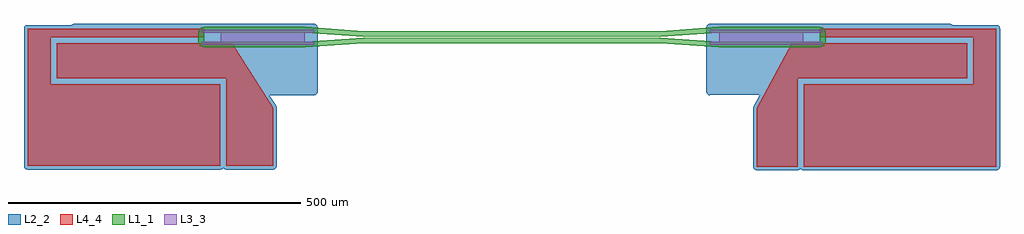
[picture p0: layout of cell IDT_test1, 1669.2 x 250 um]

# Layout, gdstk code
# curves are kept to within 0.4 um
import gdstk
lib = gdstk.Library(unit=1e-6, precision=1e-09)
def P(c, l, *ps):  # polygons
    for p in ps: c.add(gdstk.Polygon(p, *l))
L1_1 = (1, 1)
L2_2 = (2, 2)
L3_3 = (3, 3)
L4_4 = (4, 4)

idt_test1 = lib.new_cell('IDT_test1')
P(idt_test1, L1_1, [(-778.8,-12.75),(-951.6,-12.75),(-957.156,-11.065),(-960.839,-6.577),(-961.6,-2.75),(-961.6,12.25),(-960.839,16.077),(-958.671,19.321),(-955.427,21.489),(-951.6,22.25),(-778.8,22.25),(-678.455,15.35),(-425,15.35),(-425,5.35),(-678.8,5.35),(-778.8,12.25),(-951.6,12.25),(-951.6,-2.75),(-778.8,-2.75),(-678.8,4.15),(-425,4.15),(-425,-5.85),(-678.455,-5.85)],
  [(-171.545,15.35),(-71.2,22.25),(101.6,22.25),(105.427,21.489),(108.671,19.321),(110.839,16.077),(111.6,12.25),(111.6,-2.75),(110.839,-6.577),(107.156,-11.065),(101.6,-12.75),(-71.2,-12.75),(-171.545,-5.85),(-425,-5.85),(-425,4.15),(-171.2,4.15),(-71.2,-2.75),(101.6,-2.75),(101.6,12.25),(-71.2,12.25),(-171.2,5.35),(-425,5.35),(-425,15.35)])
P(idt_test1, L2_2, [(68.6,-219.815),(66.428,-221.792),(63.6,-222.5),(-6.4,-222.5),(-9.228,-221.792),(-11.389,-219.833),(-12.4,-216.5),(-12.371,-115.906),(-11.678,-113.647),(-1.329,-94.5),(-86.4,-94.5),(-89.228,-93.792),(-91.389,-91.833),(-92.4,-88.5),(-92.4,21.5),(-91.692,24.328),(-89.733,26.489),(-86.4,27.5),(323.6,27.5),(325.896,27.043),(328.063,25.5),(404.188,25.471),(406.428,24.792),(408.589,22.833),(409.6,19.5),(409.6,-216.5),(408.892,-219.328),(406.933,-221.489),(403.6,-222.5),(73.6,-222.5),(70.772,-221.792)],
  [(-1178.063,25.5),(-1175.896,27.043),(-1173.6,27.5),(-761.858,27.242),(-758.611,24.833),(-757.6,21.5),(-757.858,-90.242),(-759.794,-93.138),(-763.012,-94.471),(-839.852,-94.5),(-828.538,-112.279),(-827.627,-114.934),(-827.6,-215.5),(-828.611,-218.833),(-831.858,-221.242),(-913.6,-221.5),(-916.428,-220.792),(-918.6,-218.815),(-920.772,-220.792),(-923.6,-221.5),(-1255.342,-221.242),(-1258.589,-218.833),(-1259.6,-215.5),(-1259.342,21.242),(-1257.406,24.138),(-1254.188,25.471)])
P(idt_test1, L3_3, [(-898.6,-3),(-898.6,11.75),(-898.155,11.75),(-898.155,-3),(-896.8,-3),(-896.8,11.75),(-896.355,11.75),(-896.355,-3),(-895,-3),(-895,11.75),(-894.555,11.75),(-894.555,-3),(-893.2,-3),(-893.2,11.75),(-892.755,11.75),(-892.755,-3),(-891.4,-3),(-891.4,11.75),(-890.955,11.75),(-890.955,-3),(-889.6,-3),(-889.6,11.75),(-889.155,11.75),(-889.155,-3),(-887.8,-3),(-887.8,11.75),(-887.355,11.75),(-887.355,-3),(-886,-3),(-886,11.75),(-885.555,11.75),(-885.555,-3),(-884.2,-3),(-884.2,11.75),(-883.755,11.75),(-883.755,-3),(-882.4,-3),(-882.4,11.75),(-881.955,11.75),(-881.955,-3),(-880.6,-3),(-880.6,11.75),(-880.155,11.75),(-880.155,-3),(-878.8,-3),(-878.8,11.75),(-878.355,11.75),(-878.355,-3),(-877,-3),(-877,11.75),(-876.555,11.75),(-876.555,-3),(-875.2,-3),(-875.2,11.75),(-874.755,11.75),(-874.755,-3),(-873.4,-3),(-873.4,11.75),(-872.955,11.75),(-872.955,-3),(-871.6,-3),(-871.6,11.75),(-871.155,11.75),(-871.155,-3),(-869.8,-3),(-869.8,11.75),(-869.355,11.75),(-869.355,-3),(-868,-3),(-868,11.75),(-867.555,11.75),(-867.555,-3),(-866.2,-3),(-866.2,11.75),(-865.755,11.75),(-865.755,-3),(-864.4,-3),(-864.4,11.75),(-863.955,11.75),(-863.955,-3),(-862.6,-3),(-862.6,11.75),(-862.155,11.75),(-862.155,-3),(-860.8,-3),(-860.8,11.75),(-860.355,11.75),(-860.355,-3),(-859,-3),(-859,11.75),(-858.555,11.75),(-858.555,-3),(-857.2,-3),(-857.2,11.75),(-856.755,11.75),(-856.755,-3),(-855.4,-3),(-855.4,11.75),(-854.955,11.75),(-854.955,-3),(-853.6,-3),(-853.6,11.75),(-853.155,11.75),(-853.155,-3),(-851.8,-3),(-851.8,11.75),(-851.355,11.75),(-851.355,-3),(-850,-3),(-850,11.75),(-849.555,11.75),(-849.555,-3),(-848.2,-3),(-848.2,11.75),(-847.755,11.75),(-847.755,-3),(-846.4,-3),(-846.4,11.75),(-845.955,11.75),(-845.955,-3),(-844.6,-3),(-844.6,11.75),(-844.155,11.75),(-844.155,-3),(-842.8,-3),(-842.8,11.75),(-842.355,11.75),(-842.355,-3),(-841,-3),(-841,11.75),(-840.555,11.75),(-840.555,-3),(-839.2,-3),(-839.2,11.75),(-838.755,11.75),(-838.755,-3),(-837.4,-3),(-837.4,11.75),(-836.955,11.75),(-836.955,-3),(-835.6,-3),(-835.6,11.75),(-835.155,11.75),(-835.155,-3),(-833.8,-3),(-833.8,11.75),(-833.355,11.75),(-833.355,-3),(-832,-3),(-832,11.75),(-831.555,11.75),(-831.555,-3),(-830.2,-3),(-830.2,11.75),(-829.755,11.75),(-829.755,-3),(-828.4,-3),(-828.4,11.75),(-827.955,11.75),(-827.955,-3),(-826.6,-3),(-826.6,11.75),(-826.155,11.75),(-826.155,-3),(-824.8,-3),(-824.8,11.75),(-824.355,11.75),(-824.355,-3),(-823,-3),(-823,11.75),(-822.555,11.75),(-822.555,-3),(-821.2,-3),(-821.2,11.75),(-820.755,11.75),(-820.755,-3),(-819.4,-3),(-819.4,11.75),(-818.955,11.75),(-818.955,-3),(-817.6,-3),(-817.6,11.75),(-817.155,11.75),(-817.155,-3),(-815.8,-3),(-815.8,11.75),(-815.355,11.75),(-815.355,-3),(-814,-3),(-814,11.75),(-813.555,11.75),(-813.555,-3),(-812.2,-3),(-812.2,11.75),(-811.755,11.75),(-811.755,-3),(-810.4,-3),(-810.4,11.75),(-809.955,11.75),(-809.955,-3),(-808.6,-3),(-808.6,11.75),(-808.155,11.75),(-808.155,-3),(-806.8,-3),(-806.8,11.75),(-806.355,11.75),(-806.355,-3),(-805,-3),(-805,11.75),(-804.555,11.75),(-804.555,-3),(-803.2,-3),(-803.2,11.75),(-802.755,11.75),(-802.755,-3),(-801.4,-3),(-801.4,11.75),(-800.955,11.75),(-800.955,-3),(-799.6,-3),(-799.6,11.75),(-799.155,11.75),(-799.155,-3),(-797.8,-3),(-797.8,11.75),(-797.355,11.75),(-797.355,-3),(-796,-3),(-796,11.75),(-795.555,11.75),(-795.555,-3),(-794.2,-3),(-794.2,11.75),(-793.755,11.75),(-793.755,-3),(-792.4,-3),(-792.4,11.75),(-791.955,11.75),(-791.955,-3),(-790.6,-3),(-790.6,11.75),(-790.155,11.75),(-790.155,-3),(-788.8,-3),(-788.8,11.75),(-788.355,11.75),(-788.355,-3),(-787,-3),(-787,11.75),(-786.555,11.75),(-786.555,-3),(-785.2,-3),(-785.2,11.75),(-784.755,11.75),(-784.755,-3),(-783.4,-3),(-783.4,11.75),(-782.955,11.75),(-782.955,-3),(-781.6,-3),(-781.6,11.75),(-781.155,11.75),(-781.155,-3),(-779.8,-3),(-779.8,11.75),(-779.355,11.75),(-779.355,-3),(-763.6,-3),(-763.6,-8),(-955.6,-8),(-955.6,-3),(-922,-3),(-922,11.75),(-921.555,11.75),(-921.555,-3),(-920.2,-3),(-920.2,11.75),(-919.755,11.75),(-919.755,-3),(-918.4,-3),(-918.4,11.75),(-917.955,11.75),(-917.955,-3),(-916.6,-3),(-916.6,11.75),(-916.155,11.75),(-916.155,-3),(-914.8,-3),(-914.8,11.75),(-914.355,11.75),(-914.355,-3),(-913,-3),(-913,11.75),(-912.555,11.75),(-912.555,-3),(-911.2,-3),(-911.2,11.75),(-910.755,11.75),(-910.755,-3),(-909.4,-3),(-909.4,11.75),(-908.955,11.75),(-908.955,-3),(-907.6,-3),(-907.6,11.75),(-907.155,11.75),(-907.155,-3),(-905.8,-3),(-905.8,11.75),(-905.355,11.75),(-905.355,-3),(-904,-3),(-904,11.75),(-903.555,11.75),(-903.555,-3),(-902.2,-3),(-902.2,11.75),(-901.755,11.75),(-901.755,-3),(-900.4,-3),(-900.4,11.75),(-899.955,11.75),(-899.955,-3),(-898.6,-3)],
  [(-68.845,11.75),(-68.4,11.75),(-68.4,-3),(-67.045,-3),(-67.045,11.75),(-66.6,11.75),(-66.6,-3),(-65.245,-3),(-65.245,11.75),(-64.8,11.75),(-64.8,-3),(-63.445,-3),(-63.445,11.75),(-63,11.75),(-63,-3),(-61.645,-3),(-61.645,11.75),(-61.2,11.75),(-61.2,-3),(-59.845,-3),(-59.845,11.75),(-59.4,11.75),(-59.4,-3),(-58.045,-3),(-58.045,11.75),(-57.6,11.75),(-57.6,-3),(-56.245,-3),(-56.245,11.75),(-55.8,11.75),(-55.8,-3),(-54.445,-3),(-54.445,11.75),(-54,11.75),(-54,-3),(-52.645,-3),(-52.645,11.75),(-52.2,11.75),(-52.2,-3),(-50.845,-3),(-50.845,11.75),(-50.4,11.75),(-50.4,-3),(-49.045,-3),(-49.045,11.75),(-48.6,11.75),(-48.6,-3),(-47.245,-3),(-47.245,11.75),(-46.8,11.75),(-46.8,-3),(-45.445,-3),(-45.445,11.75),(-45,11.75),(-45,-3),(-43.645,-3),(-43.645,11.75),(-43.2,11.75),(-43.2,-3),(-41.845,-3),(-41.845,11.75),(-41.4,11.75),(-41.4,-3),(-40.045,-3),(-40.045,11.75),(-39.6,11.75),(-39.6,-3),(-38.245,-3),(-38.245,11.75),(-37.8,11.75),(-37.8,-3),(-36.445,-3),(-36.445,11.75),(-36,11.75),(-36,-3),(-34.645,-3),(-34.645,11.75),(-34.2,11.75),(-34.2,-3),(-32.845,-3),(-32.845,11.75),(-32.4,11.75),(-32.4,-3),(-31.045,-3),(-31.045,11.75),(-30.6,11.75),(-30.6,-3),(-29.245,-3),(-29.245,11.75),(-28.8,11.75),(-28.8,-3),(-27.445,-3),(-27.445,11.75),(-27,11.75),(-27,-3),(-25.645,-3),(-25.645,11.75),(-25.2,11.75),(-25.2,-3),(-23.845,-3),(-23.845,11.75),(-23.4,11.75),(-23.4,-3),(-22.045,-3),(-22.045,11.75),(-21.6,11.75),(-21.6,-3),(-20.245,-3),(-20.245,11.75),(-19.8,11.75),(-19.8,-3),(-18.445,-3),(-18.445,11.75),(-18,11.75),(-18,-3),(-16.645,-3),(-16.645,11.75),(-16.2,11.75),(-16.2,-3),(-14.845,-3),(-14.845,11.75),(-14.4,11.75),(-14.4,-3),(-13.045,-3),(-13.045,11.75),(-12.6,11.75),(-12.6,-3),(-11.245,-3),(-11.245,11.75),(-10.8,11.75),(-10.8,-3),(-9.445,-3),(-9.445,11.75),(-9,11.75),(-9,-3),(-7.645,-3),(-7.645,11.75),(-7.2,11.75),(-7.2,-3),(-5.845,-3),(-5.845,11.75),(-5.4,11.75),(-5.4,-3),(-4.045,-3),(-4.045,11.75),(-3.6,11.75),(-3.6,-3),(-2.245,-3),(-2.245,11.75),(-1.8,11.75),(-1.8,-3),(-0.445,-3),(-0.445,11.75),(0,11.75),(0,-3),(1.355,-3),(1.355,11.75),(1.8,11.75),(1.8,-3),(3.155,-3),(3.155,11.75),(3.6,11.75),(3.6,-3),(4.955,-3),(4.955,11.75),(5.4,11.75),(5.4,-3),(6.755,-3),(6.755,11.75),(7.2,11.75),(7.2,-3),(8.555,-3),(8.555,11.75),(9,11.75),(9,-3),(10.355,-3),(10.355,11.75),(10.8,11.75),(10.8,-3),(12.155,-3),(12.155,11.75),(12.6,11.75),(12.6,-3),(13.955,-3),(13.955,11.75),(14.4,11.75),(14.4,-3),(15.755,-3),(15.755,11.75),(16.2,11.75),(16.2,-3),(17.555,-3),(17.555,11.75),(18,11.75),(18,-3),(19.355,-3),(19.355,11.75),(19.8,11.75),(19.8,-3),(21.155,-3),(21.155,11.75),(21.6,11.75),(21.6,-3),(22.955,-3),(22.955,11.75),(23.4,11.75),(23.4,-3),(24.755,-3),(24.755,11.75),(25.2,11.75),(25.2,-3),(26.555,-3),(26.555,11.75),(27,11.75),(27,-3),(28.355,-3),(28.355,11.75),(28.8,11.75),(28.8,-3),(30.155,-3),(30.155,11.75),(30.6,11.75),(30.6,-3),(31.955,-3),(31.955,11.75),(32.4,11.75),(32.4,-3),(33.755,-3),(33.755,11.75),(34.2,11.75),(34.2,-3),(35.555,-3),(35.555,11.75),(36,11.75),(36,-3),(37.355,-3),(37.355,11.75),(37.8,11.75),(37.8,-3),(39.155,-3),(39.155,11.75),(39.6,11.75),(39.6,-3),(40.955,-3),(40.955,11.75),(41.4,11.75),(41.4,-3),(42.755,-3),(42.755,11.75),(43.2,11.75),(43.2,-3),(44.555,-3),(44.555,11.75),(45,11.75),(45,-3),(46.355,-3),(46.355,11.75),(46.8,11.75),(46.8,-3),(48.155,-3),(48.155,11.75),(48.6,11.75),(48.6,-3),(49.955,-3),(49.955,11.75),(50.4,11.75),(50.4,-3),(51.755,-3),(51.755,11.75),(52.2,11.75),(52.2,-3),(53.555,-3),(53.555,11.75),(54,11.75),(54,-3),(55.355,-3),(55.355,11.75),(55.8,11.75),(55.8,-3),(57.155,-3),(57.155,11.75),(57.6,11.75),(57.6,-3),(58.955,-3),(58.955,11.75),(59.4,11.75),(59.4,-3),(60.755,-3),(60.755,11.75),(61.2,11.75),(61.2,-3),(62.555,-3),(62.555,11.75),(63,11.75),(63,-3),(64.355,-3),(64.355,11.75),(64.8,11.75),(64.8,-3),(66.155,-3),(66.155,11.75),(66.6,11.75),(66.6,-3),(67.955,-3),(67.955,11.75),(68.4,11.75),(68.4,-3),(69.755,-3),(69.755,11.75),(70.2,11.75),(70.2,-3),(71.555,-3),(71.555,11.75),(72,11.75),(72,-3),(105.6,-3),(105.6,-8),(-86.4,-8),(-86.4,-3),(-70.645,-3),(-70.645,11.75),(-70.2,11.75),(-70.2,-3),(-68.845,-3),(-68.845,11.75)],
  [(-895.455,-2.25),(-895.9,-2.25),(-895.9,12.5),(-897.255,12.5),(-897.255,-2.25),(-897.7,-2.25),(-897.7,12.5),(-899.055,12.5),(-899.055,-2.25),(-899.5,-2.25),(-899.5,12.5),(-900.855,12.5),(-900.855,-2.25),(-901.3,-2.25),(-901.3,12.5),(-902.655,12.5),(-902.655,-2.25),(-903.1,-2.25),(-903.1,12.5),(-904.455,12.5),(-904.455,-2.25),(-904.9,-2.25),(-904.9,12.5),(-906.255,12.5),(-906.255,-2.25),(-906.7,-2.25),(-906.7,12.5),(-908.055,12.5),(-908.055,-2.25),(-908.5,-2.25),(-908.5,12.5),(-909.855,12.5),(-909.855,-2.25),(-910.3,-2.25),(-910.3,12.5),(-911.655,12.5),(-911.655,-2.25),(-912.1,-2.25),(-912.1,12.5),(-913.455,12.5),(-913.455,-2.25),(-913.9,-2.25),(-913.9,12.5),(-915.255,12.5),(-915.255,-2.25),(-915.7,-2.25),(-915.7,12.5),(-917.055,12.5),(-917.055,-2.25),(-917.5,-2.25),(-917.5,12.5),(-918.855,12.5),(-918.855,-2.25),(-919.3,-2.25),(-919.3,12.5),(-920.655,12.5),(-920.655,-2.25),(-921.1,-2.25),(-921.1,12.5),(-922.455,12.5),(-922.455,-2.25),(-922.9,-2.25),(-922.9,12.5),(-955.6,12.5),(-955.6,17.5),(-763.6,17.5),(-763.6,12.5),(-780.255,12.5),(-780.255,-2.25),(-780.7,-2.25),(-780.7,12.5),(-782.055,12.5),(-782.055,-2.25),(-782.5,-2.25),(-782.5,12.5),(-783.855,12.5),(-783.855,-2.25),(-784.3,-2.25),(-784.3,12.5),(-785.655,12.5),(-785.655,-2.25),(-786.1,-2.25),(-786.1,12.5),(-787.455,12.5),(-787.455,-2.25),(-787.9,-2.25),(-787.9,12.5),(-789.255,12.5),(-789.255,-2.25),(-789.7,-2.25),(-789.7,12.5),(-791.055,12.5),(-791.055,-2.25),(-791.5,-2.25),(-791.5,12.5),(-792.855,12.5),(-792.855,-2.25),(-793.3,-2.25),(-793.3,12.5),(-794.655,12.5),(-794.655,-2.25),(-795.1,-2.25),(-795.1,12.5),(-796.455,12.5),(-796.455,-2.25),(-796.9,-2.25),(-796.9,12.5),(-798.255,12.5),(-798.255,-2.25),(-798.7,-2.25),(-798.7,12.5),(-800.055,12.5),(-800.055,-2.25),(-800.5,-2.25),(-800.5,12.5),(-801.855,12.5),(-801.855,-2.25),(-802.3,-2.25),(-802.3,12.5),(-803.655,12.5),(-803.655,-2.25),(-804.1,-2.25),(-804.1,12.5),(-805.455,12.5),(-805.455,-2.25),(-805.9,-2.25),(-805.9,12.5),(-807.255,12.5),(-807.255,-2.25),(-807.7,-2.25),(-807.7,12.5),(-809.055,12.5),(-809.055,-2.25),(-809.5,-2.25),(-809.5,12.5),(-810.855,12.5),(-810.855,-2.25),(-811.3,-2.25),(-811.3,12.5),(-812.655,12.5),(-812.655,-2.25),(-813.1,-2.25),(-813.1,12.5),(-814.455,12.5),(-814.455,-2.25),(-814.9,-2.25),(-814.9,12.5),(-816.255,12.5),(-816.255,-2.25),(-816.7,-2.25),(-816.7,12.5),(-818.055,12.5),(-818.055,-2.25),(-818.5,-2.25),(-818.5,12.5),(-819.855,12.5),(-819.855,-2.25),(-820.3,-2.25),(-820.3,12.5),(-821.655,12.5),(-821.655,-2.25),(-822.1,-2.25),(-822.1,12.5),(-823.455,12.5),(-823.455,-2.25),(-823.9,-2.25),(-823.9,12.5),(-825.255,12.5),(-825.255,-2.25),(-825.7,-2.25),(-825.7,12.5),(-827.055,12.5),(-827.055,-2.25),(-827.5,-2.25),(-827.5,12.5),(-828.855,12.5),(-828.855,-2.25),(-829.3,-2.25),(-829.3,12.5),(-830.655,12.5),(-830.655,-2.25),(-831.1,-2.25),(-831.1,12.5),(-832.455,12.5),(-832.455,-2.25),(-832.9,-2.25),(-832.9,12.5),(-834.255,12.5),(-834.255,-2.25),(-834.7,-2.25),(-834.7,12.5),(-836.055,12.5),(-836.055,-2.25),(-836.5,-2.25),(-836.5,12.5),(-837.855,12.5),(-837.855,-2.25),(-838.3,-2.25),(-838.3,12.5),(-839.655,12.5),(-839.655,-2.25),(-840.1,-2.25),(-840.1,12.5),(-841.455,12.5),(-841.455,-2.25),(-841.9,-2.25),(-841.9,12.5),(-843.255,12.5),(-843.255,-2.25),(-843.7,-2.25),(-843.7,12.5),(-845.055,12.5),(-845.055,-2.25),(-845.5,-2.25),(-845.5,12.5),(-846.855,12.5),(-846.855,-2.25),(-847.3,-2.25),(-847.3,12.5),(-848.655,12.5),(-848.655,-2.25),(-849.1,-2.25),(-849.1,12.5),(-850.455,12.5),(-850.455,-2.25),(-850.9,-2.25),(-850.9,12.5),(-852.255,12.5),(-852.255,-2.25),(-852.7,-2.25),(-852.7,12.5),(-854.055,12.5),(-854.055,-2.25),(-854.5,-2.25),(-854.5,12.5),(-855.855,12.5),(-855.855,-2.25),(-856.3,-2.25),(-856.3,12.5),(-857.655,12.5),(-857.655,-2.25),(-858.1,-2.25),(-858.1,12.5),(-859.455,12.5),(-859.455,-2.25),(-859.9,-2.25),(-859.9,12.5),(-861.255,12.5),(-861.255,-2.25),(-861.7,-2.25),(-861.7,12.5),(-863.055,12.5),(-863.055,-2.25),(-863.5,-2.25),(-863.5,12.5),(-864.855,12.5),(-864.855,-2.25),(-865.3,-2.25),(-865.3,12.5),(-866.655,12.5),(-866.655,-2.25),(-867.1,-2.25),(-867.1,12.5),(-868.455,12.5),(-868.455,-2.25),(-868.9,-2.25),(-868.9,12.5),(-870.255,12.5),(-870.255,-2.25),(-870.7,-2.25),(-870.7,12.5),(-872.055,12.5),(-872.055,-2.25),(-872.5,-2.25),(-872.5,12.5),(-873.855,12.5),(-873.855,-2.25),(-874.3,-2.25),(-874.3,12.5),(-875.655,12.5),(-875.655,-2.25),(-876.1,-2.25),(-876.1,12.5),(-877.455,12.5),(-877.455,-2.25),(-877.9,-2.25),(-877.9,12.5),(-879.255,12.5),(-879.255,-2.25),(-879.7,-2.25),(-879.7,12.5),(-881.055,12.5),(-881.055,-2.25),(-881.5,-2.25),(-881.5,12.5),(-882.855,12.5),(-882.855,-2.25),(-883.3,-2.25),(-883.3,12.5),(-884.655,12.5),(-884.655,-2.25),(-885.1,-2.25),(-885.1,12.5),(-886.455,12.5),(-886.455,-2.25),(-886.9,-2.25),(-886.9,12.5),(-888.255,12.5),(-888.255,-2.25),(-888.7,-2.25),(-888.7,12.5),(-890.055,12.5),(-890.055,-2.25),(-890.5,-2.25),(-890.5,12.5),(-891.855,12.5),(-891.855,-2.25),(-892.3,-2.25),(-892.3,12.5),(-893.655,12.5),(-893.655,-2.25),(-894.1,-2.25),(-894.1,12.5),(-895.455,12.5),(-895.455,-2.25)],
  [(-56.7,12.5),(-56.7,-2.25),(-57.145,-2.25),(-57.145,12.5),(-58.5,12.5),(-58.5,-2.25),(-58.945,-2.25),(-58.945,12.5),(-60.3,12.5),(-60.3,-2.25),(-60.745,-2.25),(-60.745,12.5),(-62.1,12.5),(-62.1,-2.25),(-62.545,-2.25),(-62.545,12.5),(-63.9,12.5),(-63.9,-2.25),(-64.345,-2.25),(-64.345,12.5),(-65.7,12.5),(-65.7,-2.25),(-66.145,-2.25),(-66.145,12.5),(-67.5,12.5),(-67.5,-2.25),(-67.945,-2.25),(-67.945,12.5),(-69.3,12.5),(-69.3,-2.25),(-69.745,-2.25),(-69.745,12.5),(-86.4,12.5),(-86.4,17.5),(105.6,17.5),(105.6,12.5),(72.9,12.5),(72.9,-2.25),(72.455,-2.25),(72.455,12.5),(71.1,12.5),(71.1,-2.25),(70.655,-2.25),(70.655,12.5),(69.3,12.5),(69.3,-2.25),(68.855,-2.25),(68.855,12.5),(67.5,12.5),(67.5,-2.25),(67.055,-2.25),(67.055,12.5),(65.7,12.5),(65.7,-2.25),(65.255,-2.25),(65.255,12.5),(63.9,12.5),(63.9,-2.25),(63.455,-2.25),(63.455,12.5),(62.1,12.5),(62.1,-2.25),(61.655,-2.25),(61.655,12.5),(60.3,12.5),(60.3,-2.25),(59.855,-2.25),(59.855,12.5),(58.5,12.5),(58.5,-2.25),(58.055,-2.25),(58.055,12.5),(56.7,12.5),(56.7,-2.25),(56.255,-2.25),(56.255,12.5),(54.9,12.5),(54.9,-2.25),(54.455,-2.25),(54.455,12.5),(53.1,12.5),(53.1,-2.25),(52.655,-2.25),(52.655,12.5),(51.3,12.5),(51.3,-2.25),(50.855,-2.25),(50.855,12.5),(49.5,12.5),(49.5,-2.25),(49.055,-2.25),(49.055,12.5),(47.7,12.5),(47.7,-2.25),(47.255,-2.25),(47.255,12.5),(45.9,12.5),(45.9,-2.25),(45.455,-2.25),(45.455,12.5),(44.1,12.5),(44.1,-2.25),(43.655,-2.25),(43.655,12.5),(42.3,12.5),(42.3,-2.25),(41.855,-2.25),(41.855,12.5),(40.5,12.5),(40.5,-2.25),(40.055,-2.25),(40.055,12.5),(38.7,12.5),(38.7,-2.25),(38.255,-2.25),(38.255,12.5),(36.9,12.5),(36.9,-2.25),(36.455,-2.25),(36.455,12.5),(35.1,12.5),(35.1,-2.25),(34.655,-2.25),(34.655,12.5),(33.3,12.5),(33.3,-2.25),(32.855,-2.25),(32.855,12.5),(31.5,12.5),(31.5,-2.25),(31.055,-2.25),(31.055,12.5),(29.7,12.5),(29.7,-2.25),(29.255,-2.25),(29.255,12.5),(27.9,12.5),(27.9,-2.25),(27.455,-2.25),(27.455,12.5),(26.1,12.5),(26.1,-2.25),(25.655,-2.25),(25.655,12.5),(24.3,12.5),(24.3,-2.25),(23.855,-2.25),(23.855,12.5),(22.5,12.5),(22.5,-2.25),(22.055,-2.25),(22.055,12.5),(20.7,12.5),(20.7,-2.25),(20.255,-2.25),(20.255,12.5),(18.9,12.5),(18.9,-2.25),(18.455,-2.25),(18.455,12.5),(17.1,12.5),(17.1,-2.25),(16.655,-2.25),(16.655,12.5),(15.3,12.5),(15.3,-2.25),(14.855,-2.25),(14.855,12.5),(13.5,12.5),(13.5,-2.25),(13.055,-2.25),(13.055,12.5),(11.7,12.5),(11.7,-2.25),(11.255,-2.25),(11.255,12.5),(9.9,12.5),(9.9,-2.25),(9.455,-2.25),(9.455,12.5),(8.1,12.5),(8.1,-2.25),(7.655,-2.25),(7.655,12.5),(6.3,12.5),(6.3,-2.25),(5.855,-2.25),(5.855,12.5),(4.5,12.5),(4.5,-2.25),(4.055,-2.25),(4.055,12.5),(2.7,12.5),(2.7,-2.25),(2.255,-2.25),(2.255,12.5),(0.9,12.5),(0.9,-2.25),(0.455,-2.25),(0.455,12.5),(-0.9,12.5),(-0.9,-2.25),(-1.345,-2.25),(-1.345,12.5),(-2.7,12.5),(-2.7,-2.25),(-3.145,-2.25),(-3.145,12.5),(-4.5,12.5),(-4.5,-2.25),(-4.945,-2.25),(-4.945,12.5),(-6.3,12.5),(-6.3,-2.25),(-6.745,-2.25),(-6.745,12.5),(-8.1,12.5),(-8.1,-2.25),(-8.545,-2.25),(-8.545,12.5),(-9.9,12.5),(-9.9,-2.25),(-10.345,-2.25),(-10.345,12.5),(-11.7,12.5),(-11.7,-2.25),(-12.145,-2.25),(-12.145,12.5),(-13.5,12.5),(-13.5,-2.25),(-13.945,-2.25),(-13.945,12.5),(-15.3,12.5),(-15.3,-2.25),(-15.745,-2.25),(-15.745,12.5),(-17.1,12.5),(-17.1,-2.25),(-17.545,-2.25),(-17.545,12.5),(-18.9,12.5),(-18.9,-2.25),(-19.345,-2.25),(-19.345,12.5),(-20.7,12.5),(-20.7,-2.25),(-21.145,-2.25),(-21.145,12.5),(-22.5,12.5),(-22.5,-2.25),(-22.945,-2.25),(-22.945,12.5),(-24.3,12.5),(-24.3,-2.25),(-24.745,-2.25),(-24.745,12.5),(-26.1,12.5),(-26.1,-2.25),(-26.545,-2.25),(-26.545,12.5),(-27.9,12.5),(-27.9,-2.25),(-28.345,-2.25),(-28.345,12.5),(-29.7,12.5),(-29.7,-2.25),(-30.145,-2.25),(-30.145,12.5),(-31.5,12.5),(-31.5,-2.25),(-31.945,-2.25),(-31.945,12.5),(-33.3,12.5),(-33.3,-2.25),(-33.745,-2.25),(-33.745,12.5),(-35.1,12.5),(-35.1,-2.25),(-35.545,-2.25),(-35.545,12.5),(-36.9,12.5),(-36.9,-2.25),(-37.345,-2.25),(-37.345,12.5),(-38.7,12.5),(-38.7,-2.25),(-39.145,-2.25),(-39.145,12.5),(-40.5,12.5),(-40.5,-2.25),(-40.945,-2.25),(-40.945,12.5),(-42.3,12.5),(-42.3,-2.25),(-42.745,-2.25),(-42.745,12.5),(-44.1,12.5),(-44.1,-2.25),(-44.545,-2.25),(-44.545,12.5),(-45.9,12.5),(-45.9,-2.25),(-46.345,-2.25),(-46.345,12.5),(-47.7,12.5),(-47.7,-2.25),(-48.145,-2.25),(-48.145,12.5),(-49.5,12.5),(-49.5,-2.25),(-49.945,-2.25),(-49.945,12.5),(-51.3,12.5),(-51.3,-2.25),(-51.745,-2.25),(-51.745,12.5),(-53.1,12.5),(-53.1,-2.25),(-53.545,-2.25),(-53.545,12.5),(-54.9,12.5),(-54.9,-2.25),(-55.345,-2.25),(-55.345,12.5),(-56.7,12.5)])
P(idt_test1, L4_4, [(63.6,-65.5),(63.6,-216.5),(-6.4,-216.5),(-6.4,-116.5),(53.6,-5.5),(353.6,-5.5),(353.6,-65.5),(63.6,-65.5)],
  [(-913.6,-215.5),(-913.6,-65.5),(-1203.6,-65.5),(-1203.6,-5.5),(-903.6,-5.5),(-833.6,-115.5),(-833.6,-215.5),(-913.6,-215.5)],
  [(73.6,-216.5),(73.6,-75.5),(363.6,-75.5),(363.6,4.5),(101.6,4.5),(101.6,19.5),(403.6,19.5),(403.6,-216.5),(73.6,-216.5)],
  [(-1213.6,-75.5),(-923.6,-75.5),(-923.6,-215.5),(-1253.6,-215.5),(-1253.6,19.5),(-951.6,19.5),(-951.6,4.5),(-1213.6,4.5),(-1213.6,-75.5)])

lib.write_gds('IDT_test1.gds')
